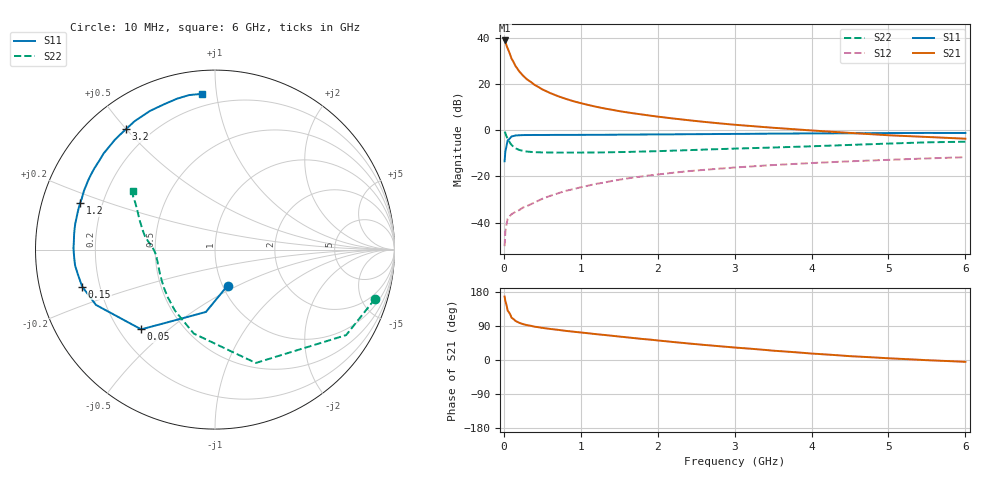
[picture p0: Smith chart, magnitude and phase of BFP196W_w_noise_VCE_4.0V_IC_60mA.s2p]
! (c) 2017  Infineon Technologies AG, Munich
! Infineon Technologies  Discrete & RF Semiconductors
! BFP196W
! VCE =  4.0 V,  IC =  60 mA
! Common Emitter S-Parameters:  Jan 2017
# GHz  S  MA  R  50
!  f  S11  S21  S12  S22
! GHz  MAG  ANG  MAG  ANG  MAG  ANG  MAG  ANG
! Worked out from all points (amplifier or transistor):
!   77 points, 10 MHz to 6 GHz, reference 50 ohm
!   highest |S21| = 38.8 dB at 10 MHz (marker M1)
!   |S21| within 3 dB of that: start of sweep to 44.21 MHz
!   unconditionally stable (mu >= 1): 623.7 MHz to 3.291 GHz
!   at 130 MHz: K = 0.49, MSG = 32.5 dB, |S12| = -35.8 dB
!   at 2.2 GHz: K = 1.04, MAG = 10.6 dB, |S12| = -18.4 dB
!   at 6 GHz: K = 0.95, MSG = 4.0 dB, |S12| = -11.7 dB
!   lowest NFmin = 1.47 dB at 450 MHz
!   S11 on the Smith chart (normalised r, x): 10 MHz: 1.06, -0.44; 50 MHz: 0.29, -0.41; 150 MHz: 0.13, -0.13; 1.2 GHz: 0.12, +0.17; 3.2 GHz: 0.11, +0.50; 6 GHz: 0.13, +0.91
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0.01  0.2124 -70.7  87.32 167.4  0.0031 77.8  0.9325 -17.2
0.02  0.3512 -98.3  81.1 155.0  0.0065 72.7  0.8722 -33.1
0.05  0.6054 -132.8  58.38 130.0  0.0122 52.4  0.6713 -70.2
0.1  0.7315 -155.1  35.38 111.5  0.0152 43.6  0.4826 -104.2
0.15  0.7682 -164.4  24.67 103.2  0.0171 44.2  0.4067 -123.3
0.2  0.7763 -169.7  18.76 98.2  0.0187 46.5  0.3739 -134.7
0.25  0.7845 -173.5  15.11 94.6  0.0213 48.4  0.356 -142.8
0.3  0.7857 -176.2  12.62 92.1  0.0228 52.3  0.3451 -148.5
0.4  0.7886 179.5  9.548 87.9  0.0273 56.3  0.3356 -156.0
0.5  0.7877 176.6  7.641 84.8  0.0328 58.7  0.3304 -160.8
0.6  0.7896 173.8  6.391 82.0  0.0379 60.7  0.3301 -164.4
0.7  0.7907 171.6  5.473 79.7  0.0429 63.1  0.3276 -167.0
0.9  0.7916 167.0  4.256 74.8  0.053 63.7  0.3282 -170.6
1.1  0.7941 162.9  3.505 70.5  0.0634 64.8  0.3294 -173.4
1.2  0.795 160.9  3.213 68.2  0.0691 63.4  0.3297 -174.6
1.6  0.8019 153.5  2.435 59.8  0.0902 61.9  0.3379 -178.9
2.1  0.8114 144.1  1.877 49.6  0.115 57.9  0.3565 176.3
3.1  0.8321 128.0  1.273 31.4  0.1598 48.9  0.4039 167.7
3.2  0.8342 126.5  1.236 29.9  0.1638 48.0  0.4083 166.8
4.1  0.8535 114.0  0.963 15.8  0.1983 40.1  0.4547 157.9
5.1  0.8677 103.2  0.764 3.6  0.2318 31.9  0.52 149.1
6  0.8708 94.8  0.655 -4.9  0.2609 24.8  0.5636 144.5
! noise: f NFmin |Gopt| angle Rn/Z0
0.45  1.47  0.52  -176  0.06
0.9  1.59  0.56  -170  0.07
1.9  2.42  0.69  -149  0.17
2.4  2.81  0.73  -144  0.27
